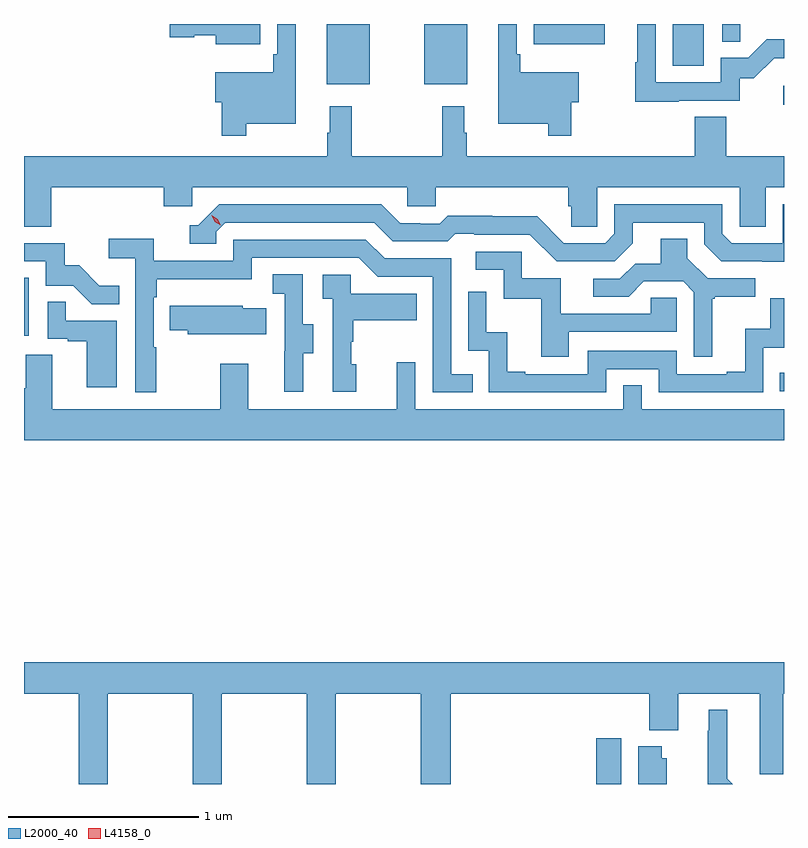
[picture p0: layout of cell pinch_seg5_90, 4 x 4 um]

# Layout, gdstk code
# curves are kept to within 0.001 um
import gdstk
lib = gdstk.Library(unit=1e-6, precision=1e-09)
def R(c, l, rs):  # rectangles x0, y0, x1, y1
    for r in rs: c.add(gdstk.rectangle(r[:2], r[2:], *l))
def P(c, l, *ps):  # polygons
    for p in ps: c.add(gdstk.Polygon(p, *l))
L2000_40 = (2000, 40)
L4158_0 = (4158, 0)

pinch_seg5_90 = lib.new_cell('pinch_seg5_90')
R(pinch_seg5_90, L2000_40, [(1033.826,894.912,1033.957,895.153), (1034.791,896.979,1034.814,897.076), (1030.814,897.27,1030.84,897.577), (1034.811,898.486,1034.814,898.588), (1032.407,898.595,1032.634,898.912), (1032.92,898.595,1033.147,898.912), (1034.228,898.692,1034.392,898.912), (1033.496,898.805,1033.87,898.912), (1034.49,898.819,1034.585,898.912)])
P(pinch_seg5_90, L2000_40, [(1031.983,898.388),(1032.244,898.388),(1032.244,898.912),(1032.147,898.912),(1032.147,898.753),(1032.127,898.753),(1032.127,898.657),(1031.82,898.657),(1031.82,898.499),(1031.854,898.499),(1031.854,898.323),(1031.983,898.323)],
  [(1032.058,898.912),(1031.58,898.912),(1031.58,898.841),(1031.709,898.841),(1031.709,898.853),(1031.822,898.853),(1031.822,898.805),(1032.058,898.805)],
  [(1034.261,898.509),(1034.58,898.509),(1034.58,898.626),(1034.656,898.626),(1034.763,898.733),(1034.814,898.733),(1034.814,898.832),(1034.724,898.832),(1034.626,898.734),(1034.481,898.734),(1034.481,898.605),(1034.139,898.605),(1034.139,898.912),(1034.042,898.912),(1034.042,898.712),(1034.031,898.712),(1034.031,898.504),(1034.261,898.504)],
  [(1033.693,898.499),(1033.735,898.499),(1033.735,898.657),(1033.427,898.657),(1033.427,898.753),(1033.407,898.753),(1033.407,898.912),(1033.31,898.912),(1033.31,898.388),(1033.572,898.388),(1033.572,898.323),(1033.693,898.323)],
  [(1032.831,897.954),(1032.981,897.954),(1032.981,898.052),(1033.679,898.052),(1033.679,897.954),(1033.693,897.954),(1033.693,897.844),(1033.83,897.844),(1033.83,898.052),(1034.58,898.052),(1034.58,897.844),(1034.719,897.844),(1034.719,898.052),(1034.814,898.052),(1034.814,898.216),(1034.51,898.216),(1034.51,898.424),(1034.345,898.424),(1034.345,898.216),(1033.144,898.216),(1033.144,898.34),(1033.132,898.34),(1033.132,898.48),(1033.015,898.48),(1033.015,898.216),(1032.539,898.216),(1032.539,898.48),(1032.422,898.48),(1032.422,898.34),(1032.411,898.34),(1032.411,898.216),(1030.814,898.216),(1030.814,897.844),(1030.958,897.844),(1030.958,898.052),(1031.549,898.052),(1031.549,897.954),(1031.7,897.954),(1031.7,898.052),(1032.831,898.052)],
  [(1034.814,897.963),(1034.808,897.963),(1034.808,897.759),(1034.538,897.759),(1034.49,897.807),(1034.49,897.963),(1033.92,897.963),(1033.92,897.807),(1033.872,897.759),(1033.656,897.759),(1033.514,897.901),(1033.278,897.901),(1033.278,897.904),(1033.045,897.904),(1033.003,897.861),(1032.9,897.861),(1032.9,897.864),(1032.793,897.864),(1032.694,897.963),(1031.841,897.963),(1031.73,897.852),(1031.687,897.852),(1031.687,897.756),(1031.826,897.756),(1031.826,897.819),(1031.874,897.867),(1032.657,897.867),(1032.756,897.768),(1033.045,897.768),(1033.084,897.807),(1033.183,897.807),(1033.183,897.804),(1033.476,897.804),(1033.617,897.663),(1033.923,897.663),(1034.017,897.757),(1034.017,897.867),(1034.394,897.867),(1034.394,897.753),(1034.484,897.663),(1034.814,897.662)],
  [(1031.509,897.212),(1031.496,897.212),(1031.496,897.473),(1031.513,897.473),(1031.513,897.569),(1032.012,897.569),(1032.012,897.681),(1032.576,897.681),(1032.675,897.582),(1032.966,897.582),(1032.966,896.973),(1033.175,896.973),(1033.175,897.069),(1033.062,897.069),(1033.062,897.678),(1032.712,897.678),(1032.613,897.777),(1031.916,897.777),(1031.916,897.666),(1031.498,897.666),(1031.498,897.782),(1031.259,897.782),(1031.259,897.68),(1031.4,897.68),(1031.4,896.973),(1031.509,896.973)],
  [(1034.437,897.465),(1034.449,897.465),(1034.449,897.476),(1034.662,897.476),(1034.662,897.573),(1034.412,897.573),(1034.305,897.68),(1034.305,897.782),(1034.165,897.782),(1034.165,897.65),(1034.03,897.65),(1033.95,897.57),(1033.809,897.57),(1033.809,897.477),(1033.996,897.477),(1034.077,897.558),(1034.283,897.558),(1034.34,897.501),(1034.34,897.162),(1034.437,897.162)],
  [(1031.315,897.535),(1031.211,897.535),(1031.104,897.642),(1031.028,897.642),(1031.028,897.759),(1030.814,897.759),(1030.814,897.663),(1030.929,897.663),(1030.929,897.534),(1031.073,897.534),(1031.171,897.436),(1031.315,897.436)],
  [(1033.681,897.291),(1034.25,897.291),(1034.25,897.471),(1034.113,897.471),(1034.113,897.387),(1033.639,897.387),(1033.639,897.573),(1033.434,897.573),(1033.434,897.714),(1033.191,897.714),(1033.191,897.618),(1033.338,897.618),(1033.338,897.465),(1033.537,897.465),(1033.537,897.162),(1033.681,897.162)],
  [(1032.283,897.178),(1032.337,897.178),(1032.337,897.333),(1032.282,897.333),(1032.282,897.596),(1032.123,897.596),(1032.123,897.493),(1032.186,897.493),(1032.186,897.189),(1032.185,897.189),(1032.185,896.976),(1032.283,896.976)],
  [(1032.562,897.12),(1032.537,897.12),(1032.537,897.239),(1032.547,897.239),(1032.547,897.353),(1032.881,897.353),(1032.881,897.493),(1032.534,897.493),(1032.534,897.591),(1032.387,897.591),(1032.387,897.467),(1032.438,897.467),(1032.438,896.976),(1032.562,896.976)],
  [(1033.878,897.096),(1034.154,897.096),(1034.154,896.973),(1034.706,896.973),(1034.706,897.209),(1034.814,897.209),(1034.814,897.468),(1034.742,897.468),(1034.742,897.307),(1034.609,897.307),(1034.609,897.082),(1034.513,897.082),(1034.513,897.069),(1034.25,897.069),(1034.25,897.192),(1033.782,897.192),(1033.782,897.069),(1033.453,897.069),(1033.453,897.082),(1033.358,897.082),(1033.358,897.29),(1033.248,897.29),(1033.248,897.502),(1033.152,897.502),(1033.152,897.192),(1033.26,897.192),(1033.26,896.973),(1033.878,896.973)],
  [(1031.302,897.351),(1031.033,897.351),(1031.033,897.449),(1030.938,897.449),(1030.938,897.255),(1031.045,897.255),(1031.045,897.243),(1031.144,897.243),(1031.144,897),(1031.302,897)],
  [(1032.089,897.415),(1031.964,897.415),(1031.964,897.43),(1031.692,897.43),(1031.692,897.429),(1031.581,897.429),(1031.581,897.301),(1031.675,897.301),(1031.675,897.278),(1032.089,897.278)],
  [(1034.814,896.884),(1034.064,896.884),(1034.064,897.011),(1033.968,897.011),(1033.968,896.884),(1032.873,896.884),(1032.873,897.133),(1032.776,897.133),(1032.776,896.884),(1031.995,896.884),(1031.995,897.124),(1031.848,897.124),(1031.848,896.884),(1030.963,896.884),(1030.963,897.17),(1030.823,897.17),(1030.823,896.996),(1030.814,896.996),(1030.814,896.72),(1034.814,896.72)],
  [(1031.256,895.388),(1031.701,895.388),(1031.701,894.912),(1031.856,894.912),(1031.856,895.388),(1032.301,895.388),(1032.301,894.912),(1032.456,894.912),(1032.456,895.388),(1032.901,895.388),(1032.901,894.912),(1033.061,894.912),(1033.061,895.388),(1034.105,895.388),(1034.105,895.196),(1034.257,895.196),(1034.257,895.388),(1034.687,895.388),(1034.687,894.963),(1034.81,894.963),(1034.81,895.388),(1034.814,895.388),(1034.814,895.552),(1030.814,895.552),(1030.814,895.388),(1031.101,895.388),(1031.101,894.912),(1031.256,894.912)],
  [(1034.515,894.94),(1034.515,895.303),(1034.417,895.303),(1034.417,895.193),(1034.413,895.193),(1034.413,894.912),(1034.543,894.912)],
  [(1034.197,895.047),(1034.17,895.047),(1034.17,895.111),(1034.048,895.111),(1034.048,894.912),(1034.197,894.912)])
P(pinch_seg5_90, L4158_0, [(1031.849,897.852),(1031.819,897.872),(1031.802,897.905),(1031.802,897.905),(1031.803,897.905),(1031.833,897.885),(1031.85,897.853),(1031.85,897.852)])

lib.write_gds('pinch_seg5_90.gds')
